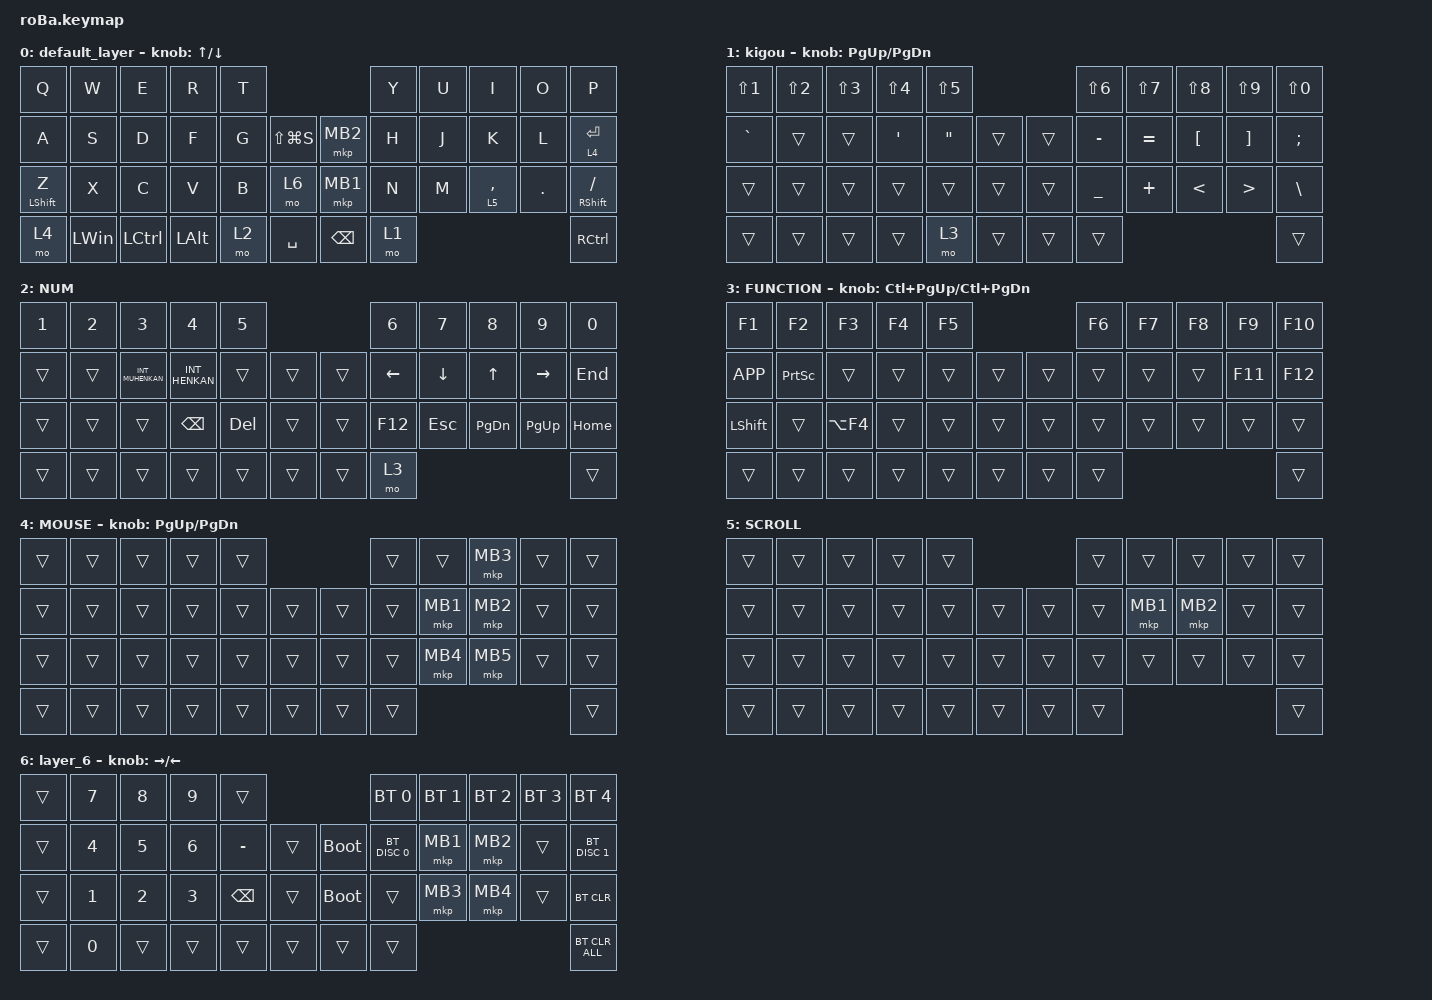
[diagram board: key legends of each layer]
#include <behaviors.dtsi>
#include <dt-bindings/zmk/bt.h>
#include <dt-bindings/zmk/keys.h>
#include <dt-bindings/zmk/pointing.h>

&mt {
    flavor = "tap-preferred";   // a など文字キーはタップを確実に
    // tapping-term-ms = <200>;    // しっかり a を拾える時間
};

&lt {
    flavor = "hold-preferred";  // レイヤー切替は即効性を重視
    tapping-term-ms = <150>;    // 短めにして切替を素早く
};

&trackball {
    // automouse-layer = <4>;

    scroll-layers = <5>;

    // arrows {
    //     layers = <3>;
    //     bindings =
    //         <&kp RIGHT_ARROW>,
    //         <&kp LEFT_ARROW>,
    //         <&kp UP_ARROW>,
    //         <&kp DOWN_ARROW>;
    //     tick = <10>;
    //     wait-ms = <5>;
    //     tap-ms = <5>;
    // };
};

/ {
    combos {
        compatible = "zmk,combos";

        tab {
            bindings = <&kp TAB>;
            key-positions = <11 12>;
        };

        shift_tab {
            bindings = <&kp LS(TAB)>;
            key-positions = <12 13>;
        };

        Layer3 {
            bindings = <&mo 3>;
            key-positions = <38 41>;
        };

        HENKAN {
            bindings = <&kp INT_HENKAN>;
            key-positions = <31 32>;
        };

        MUHENKAN {
            bindings = <&kp INT_MUHENKAN>;
            key-positions = <23 24>;
        };

        iOS_GENGO {
            bindings = <&kp LC(SPACE)>;
            key-positions = <24 25>;
        };

        quotes {
            bindings = <&kp SINGLE_QUOTE>;
            key-positions = <20 19>;
        };

        enter {
            bindings = <&kp ENTER>;
            key-positions = <20 21>;
        };

        ctrl_shift {
            bindings = <&kp LS(LCTRL)>;
            key-positions = <22 23>;
        };
    };

    macros {
        to_layer_0: to_layer_0 {
            compatible = "zmk,behavior-macro-one-param";
            #binding-cells = <1>;
            bindings = <&to 0 &macro_param_1to1 &kp MACRO_PLACEHOLDER>;
            label = "TO_LAYER_0";
        };
    };

    behaviors {
        lt_to_layer_0: lt_to_layer_0 {
            compatible = "zmk,behavior-hold-tap";
            label = "LAYER_TAP_TO_0";
            bindings = <&mo>, <&to_layer_0>;

            #binding-cells = <2>;
            tapping-term-ms = <200>;
        };
    };

    keymap {
        compatible = "zmk,keymap";

        default_layer {
            bindings = <
&kp Q             &kp W         &kp E      &kp R         &kp T                                    &kp Y  &kp U  &kp I        &kp O       &kp P
&kp A             &kp S         &kp D      &kp F         &kp G  &kp LS(LG(S))      &mkp MB2       &kp H  &kp J  &kp K        &kp L       &lt 4 ENTER
&mt LEFT_SHIFT Z  &kp X         &kp C      &kp V         &kp B  &mo 6              &mkp MB1       &kp N  &kp M  &lt 5 COMMA  &kp PERIOD  &mt RIGHT_SHIFT SLASH
&mo 4             &kp LEFT_WIN  &kp LCTRL  &kp LEFT_ALT  &mo 2  &kp SPACE          &kp BACKSPACE  &mo 1                                  &kp RCTRL
            >;

            sensor-bindings = <&inc_dec_kp UP_ARROW DOWN_ARROW>;
        };

        kigou {
            bindings = <
&kp LS(NUMBER_1)  &kp LS(NUMBER_2)  &kp LS(NUMBER_3)  &kp LS(NUMBER_4)  &kp LS(NUMBER_5)                       &kp LS(NUMBER_6)  &kp LS(N7)  &kp LS(NUMBER_8)  &kp LS(NUMBER_9)   &kp LS(NUMBER_0)
&kp GRAVE         &trans            &trans            &kp SINGLE_QUOTE  &kp DOUBLE_QUOTES  &trans      &trans  &kp MINUS         &kp EQUAL   &kp LEFT_BRACKET  &kp RIGHT_BRACKET  &kp SEMICOLON
&trans            &trans            &trans            &trans            &trans             &trans      &trans  &kp UNDERSCORE    &kp PLUS    &kp LESS_THAN     &kp GREATER_THAN   &kp BACKSLASH
&trans            &trans            &trans            &trans            &mo 3              &trans      &trans  &trans                                                             &trans
            >;

            sensor-bindings = <&inc_dec_kp PG_UP PG_DN>;
        };

        NUM {
            bindings = <
&kp NUMBER_1  &kp NUMBER_2  &kp NUMBER_3      &kp NUMBER_4    &kp N5                       &kp NUMBER_6    &kp N7          &kp N8         &kp N9           &kp N0
&trans        &trans        &kp INT_MUHENKAN  &kp INT_HENKAN  &trans   &trans      &trans  &kp LEFT_ARROW  &kp DOWN_ARROW  &kp UP_ARROW   &kp RIGHT_ARROW  &kp END
&trans        &trans        &trans            &kp BACKSPACE   &kp DEL  &trans      &trans  &kp F12         &kp ESCAPE      &kp PAGE_DOWN  &kp PG_UP        &kp HOME
&trans        &trans        &trans            &trans          &trans   &trans      &trans  &mo 3                                                           &trans
            >;
        };

        FUNCTION {
            bindings = <
&kp F1          &kp F2           &kp F3      &kp F4  &kp F5                      &kp F6  &kp F7  &kp F8  &kp F9   &kp F10
&kp K_APP       &kp PRINTSCREEN  &trans      &trans  &trans  &trans      &trans  &trans  &trans  &trans  &kp F11  &kp F12
&kp LEFT_SHIFT  &trans           &kp LA(F4)  &trans  &trans  &trans      &trans  &trans  &trans  &trans  &trans   &trans
&trans          &trans           &trans      &trans  &trans  &trans      &trans  &trans                           &trans
            >;

            sensor-bindings = <&inc_dec_kp LC(PAGE_UP) LC(PAGE_DOWN)>;
        };

        MOUSE {
            bindings = <
&trans  &trans  &trans  &trans  &trans                      &trans  &trans    &mkp MB3  &trans  &trans
&trans  &trans  &trans  &trans  &trans  &trans      &trans  &trans  &mkp MB1  &mkp MB2  &trans  &trans
&trans  &trans  &trans  &trans  &trans  &trans      &trans  &trans  &mkp MB4  &mkp MB5  &trans  &trans
&trans  &trans  &trans  &trans  &trans  &trans      &trans  &trans                              &trans
            >;

            sensor-bindings = <&inc_dec_kp PAGE_UP PAGE_DOWN>;
        };

        SCROLL {
            bindings = <
&trans  &trans  &trans  &trans  &trans                      &trans  &trans    &trans    &trans  &trans
&trans  &trans  &trans  &trans  &trans  &trans      &trans  &trans  &mkp MB1  &mkp MB2  &trans  &trans
&trans  &trans  &trans  &trans  &trans  &trans      &trans  &trans  &trans    &trans    &trans  &trans
&trans  &trans  &trans  &trans  &trans  &trans      &trans  &trans                              &trans
            >;
        };

        layer_6 {
            bindings = <
&trans  &kp N7        &kp N8        &kp N9        &trans                                  &bt BT_SEL 0   &bt BT_SEL 1  &bt BT_SEL 2  &bt BT_SEL 3  &bt BT_SEL 4
&trans  &kp NUMBER_4  &kp N5        &kp NUMBER_6  &kp MINUS      &trans      &bootloader  &bt BT_DISC 0  &mkp MB1      &mkp MB2      &trans        &bt BT_DISC 1
&trans  &kp NUMBER_1  &kp NUMBER_2  &kp NUMBER_3  &kp BACKSPACE  &trans      &bootloader  &trans         &mkp MB3      &mkp MB4      &trans        &bt BT_CLR
&trans  &kp N0        &trans        &trans        &trans         &trans      &trans       &trans                                                   &bt BT_CLR_ALL
            >;

            sensor-bindings = <&inc_dec_kp RIGHT_ARROW LEFT_ARROW>;
        };
    };
};
